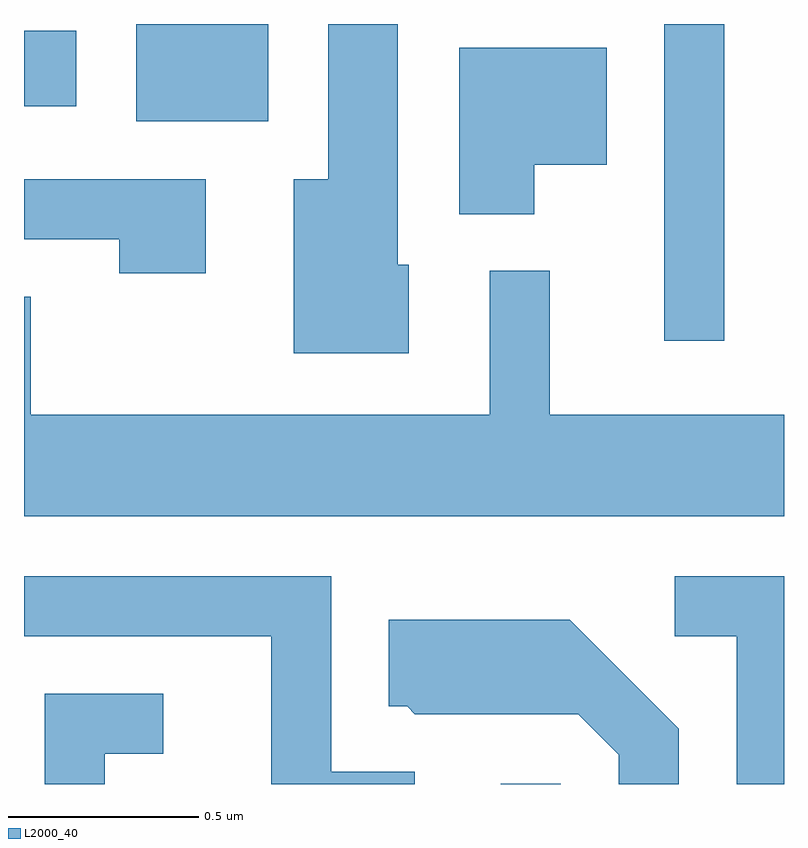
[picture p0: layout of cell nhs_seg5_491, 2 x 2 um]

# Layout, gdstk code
import gdstk
lib = gdstk.Library(unit=1e-6, precision=1e-09)
def R(c, l, rs):  # rectangles x0, y0, x1, y1
    for r in rs: c.add(gdstk.rectangle(r[:2], r[2:], *l))
def P(c, l, *ps):  # polygons
    for p in ps: c.add(gdstk.Polygon(p, *l))
L2000_40 = (2000, 40)

nhs_seg5_491 = lib.new_cell('nhs_seg5_491')
R(nhs_seg5_491, L2000_40, [(189.866,1476.072,190.024,1476.073), (190.296,1477.238,190.454,1478.072), (188.906,1477.816,189.254,1478.072), (188.611,1477.856,188.749,1478.054)])
P(nhs_seg5_491, L2000_40, [(189.624,1477.439),(189.594,1477.439),(189.594,1478.072),(189.411,1478.072),(189.411,1477.664),(189.321,1477.664),(189.321,1477.206),(189.624,1477.206)],
  [(189.954,1477.701),(190.144,1477.701),(190.144,1478.009),(189.756,1478.009),(189.756,1477.571),(189.954,1477.571)],
  [(189.089,1477.664),(188.611,1477.664),(188.611,1477.506),(188.861,1477.506),(188.861,1477.416),(189.089,1477.416)],
  [(190.611,1477.044),(189.994,1477.044),(189.994,1477.423),(189.836,1477.423),(189.836,1477.044),(188.629,1477.044),(188.629,1477.354),(188.611,1477.354),(188.611,1476.776),(190.611,1476.776)],
  [(190.611,1476.619),(190.323,1476.619),(190.323,1476.461),(190.486,1476.461),(190.486,1476.072),(190.611,1476.072)],
  [(189.639,1476.104),(189.419,1476.104),(189.419,1476.619),(188.611,1476.619),(188.611,1476.461),(189.261,1476.461),(189.261,1476.072),(189.639,1476.072)],
  [(190.334,1476.217),(190.047,1476.504),(189.571,1476.504),(189.571,1476.276),(189.619,1476.276),(189.639,1476.256),(190.069,1476.256),(190.176,1476.149),(190.176,1476.072),(190.334,1476.072)],
  [(188.824,1476.151),(188.978,1476.151),(188.978,1476.309),(188.666,1476.309),(188.666,1476.072),(188.824,1476.072)])

lib.write_gds('nhs_seg5_491.gds')
